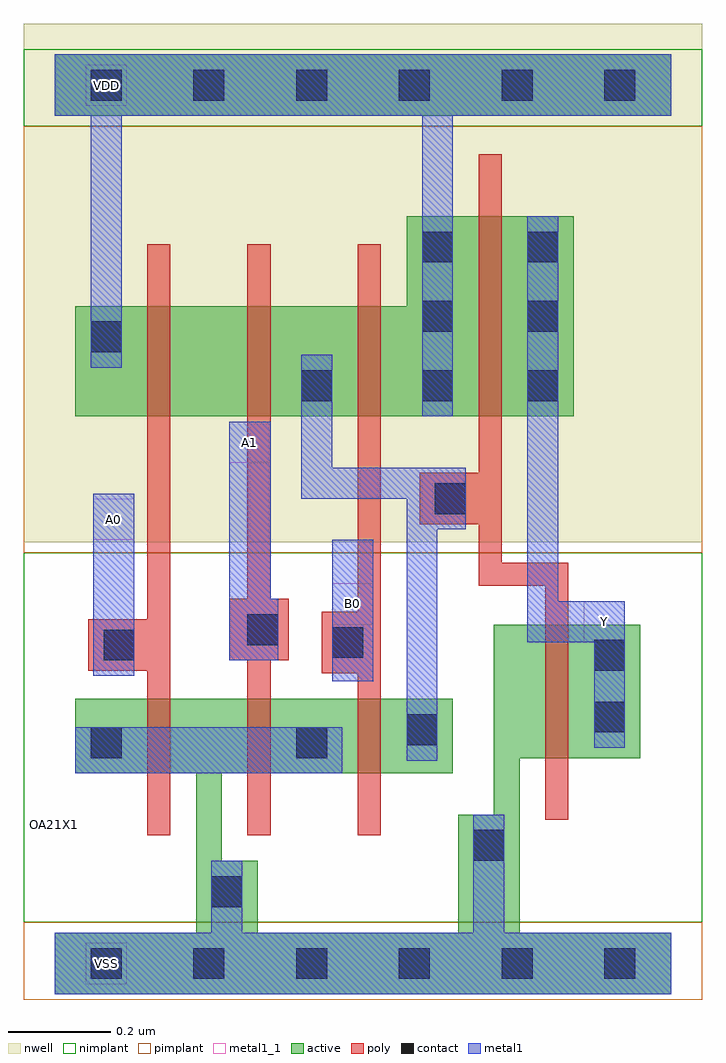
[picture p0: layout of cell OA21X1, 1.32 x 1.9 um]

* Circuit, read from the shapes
.subckt OA21X1 A0 A1 B0 VDD VSS Y
M1 VSS A0 n1 VSS nfet w=0.145u l=0.045u
M2 n1 A1 VSS VSS nfet w=0.145u l=0.045u
M3 n2 B0 n1 VSS nfet w=0.145u l=0.045u
M4 Y n2 VSS VSS nfet w=0.26u l=0.045u
M5 n3 A0 VDD VDD pfet w=0.215u l=0.045u
M6 n2 A1 n3 VDD pfet w=0.215u l=0.045u
M7 VDD B0 n2 VDD pfet w=0.215u l=0.045u
M8 Y n2 VDD VDD pfet w=0.39u l=0.045u
.ends

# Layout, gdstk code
import gdstk
lib = gdstk.Library(unit=1e-6, precision=5e-10)
def R(c, l, rs):  # rectangles x0, y0, x1, y1
    for r in rs: c.add(gdstk.rectangle(r[:2], r[2:], *l))
def A(c, l, x, y, w, h, nx, ny, dx, dy):  # array of equal rectangles
    R(c, l, [(x+i*dx, y+j*dy, x+i*dx+w, y+j*dy+h) for i in range(nx) for j in range(ny)])
def P(c, l, *ps):  # polygons
    for p in ps: c.add(gdstk.Polygon(p, *l))
active = (1, 0)
nwell = (2, 0)
poly = (3, 0)
nimplant = (4, 0)
pimplant = (5, 0)
contact = (6, 0)
metal1 = (7, 0)
metal1_1 = (7, 1)

oa21x1 = lib.new_cell('OA21X1')
R(oa21x1, active, [(0,1.65,1.2,1.77)])
P(oa21x1, active, [(0.685,1.455),(1.01,1.455),(1.01,1.065),(0.04,1.065),(0.04,1.28),(0.685,1.28)],
  [(0.04,0.515),(0.775,0.515),(0.775,0.37),(0.325,0.37),(0.325,0.2),(0.395,0.2),(0.395,0.06),(0.785,0.06),(0.785,0.29),(0.855,0.29),(0.855,0.66),(1.14,0.66),(1.14,0.4),(0.905,0.4),(0.905,0.06),(1.2,0.06),(1.2,-0.06),(0,-0.06),(0,0.06),(0.275,0.06),(0.275,0.37),(0.04,0.37)])
R(oa21x1, nwell, [(-0.06,0.82,1.26,1.83)])
R(oa21x1, poly, [(0.34,0.59,0.455,0.71)])
P(oa21x1, poly, [(0.825,1.575),(0.87,1.575),(0.87,0.78),(1,0.78),(1,0.28),(0.955,0.28),(0.955,0.735),(0.825,0.735),(0.825,0.855),(0.71,0.855),(0.71,0.955),(0.825,0.955)],
  [(0.18,1.4),(0.225,1.4),(0.225,0.25),(0.18,0.25),(0.18,0.57),(0.065,0.57),(0.065,0.67),(0.18,0.67)],
  [(0.375,1.4),(0.42,1.4),(0.42,0.71),(0.455,0.71),(0.455,0.59),(0.42,0.59),(0.42,0.25),(0.375,0.25)],
  [(0.59,1.4),(0.635,1.4),(0.635,0.25),(0.59,0.25),(0.59,0.565),(0.52,0.565),(0.52,0.685),(0.59,0.685)])
R(oa21x1, nimplant, [(-0.06,0.08,1.26,0.8), (-0.06,1.63,1.26,1.78)])
R(oa21x1, pimplant, [(-0.06,-0.07,1.26,0.08), (-0.06,0.8,1.26,1.63)])
A(oa21x1, contact, 0.07, -0.03, 0.06, 0.06, 6, 2, 0.2, 1.71)
A(oa21x1, contact, 0.715, 1.095, 0.06, 0.06, 1, 3, 0, 0.135)
A(oa21x1, contact, 0.92, 1.095, 0.06, 0.06, 1, 3, 0, 0.135)
R(oa21x1, contact, [(0.305,0.11,0.365,0.17), (0.815,0.2,0.875,0.26), (0.07,0.4,0.13,0.46), (0.47,0.4,0.53,0.46), (0.685,0.425,0.745,0.485), (1.05,0.45,1.11,0.51), (1.05,0.57,1.11,0.63), (0.095,0.59,0.155,0.65), (0.54,0.595,0.6,0.655), (0.375,0.62,0.435,0.68), (0.74,0.875,0.8,0.935), (0.48,1.095,0.54,1.155), (0.07,1.19,0.13,1.25)])
R(oa21x1, metal1, [(0.04,0.37,0.56,0.46), (1.05,0.42,1.11,0.67), (0.54,0.55,0.62,0.825), (0.075,0.56,0.155,0.915)])
P(oa21x1, metal1, [(0.305,0.2),(0.365,0.2),(0.365,0.06),(0.815,0.06),(0.815,0.29),(0.875,0.29),(0.875,0.06),(1.2,0.06),(1.2,-0.06),(0,-0.06),(0,0.06),(0.305,0.06)],
  [(0,1.77),(1.2,1.77),(1.2,1.65),(0.775,1.65),(0.775,1.065),(0.715,1.065),(0.715,1.65),(0.13,1.65),(0.13,1.16),(0.07,1.16),(0.07,1.65),(0,1.65)],
  [(0.48,1.185),(0.54,1.185),(0.54,0.965),(0.8,0.965),(0.8,0.845),(0.745,0.845),(0.745,0.395),(0.685,0.395),(0.685,0.905),(0.48,0.905)],
  [(1.11,0.705),(0.98,0.705),(0.98,1.455),(0.92,1.455),(0.92,0.625),(1.11,0.625)],
  [(0.435,0.71),(0.42,0.71),(0.42,1.055),(0.34,1.055),(0.34,0.59),(0.435,0.59)])
R(oa21x1, metal1_1, [(0.06,-0.04,0.14,0.04), (1.03,0.625,1.11,0.705), (0.54,0.66,0.62,0.74), (0.075,0.825,0.155,0.905), (0.34,0.975,0.42,1.055), (0.06,1.67,0.14,1.75)])
oa21x1.add(gdstk.Label('VSS', (0.1,0), layer=7, texttype=1))
oa21x1.add(gdstk.Label('Y', (1.07,0.665), layer=7, texttype=1))
oa21x1.add(gdstk.Label('A0', (0.115,0.865), layer=7, texttype=1))
oa21x1.add(gdstk.Label('A1', (0.38,1.015), layer=7, texttype=1))
oa21x1.add(gdstk.Label('B0', (0.58,0.7), layer=7, texttype=1))
oa21x1.add(gdstk.Label('VDD', (0.1,1.71), layer=7, texttype=1))
oa21x1.add(gdstk.Label('OA21X1', (0,0.27), layer=63, texttype=0))

lib.write_gds('OA21X1.gds')
